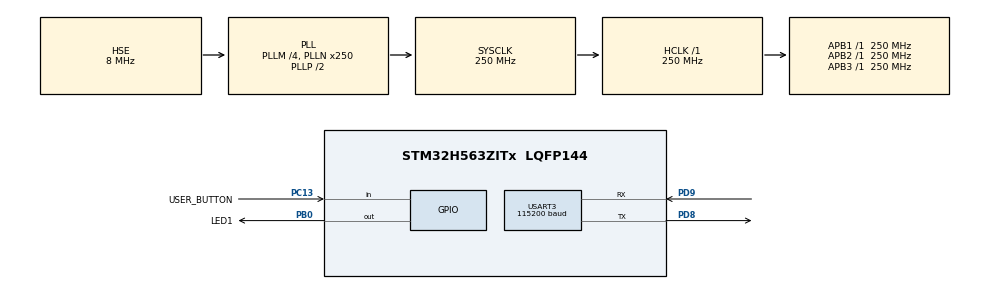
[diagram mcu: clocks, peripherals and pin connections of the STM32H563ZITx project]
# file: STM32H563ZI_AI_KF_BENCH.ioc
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CORTEX_M33_NS.userName=CORTEX_M33
Mcu.Family=STM32H5
Mcu.Name=STM32H563ZITx
Mcu.Package=LQFP144
NVIC.PriorityGroup=NVIC_PRIORITYGROUP_4
NVIC.USART3_IRQn=true\:0\:0\:false\:false\:true\:true\:true\:true
PB0.GPIO_Label=LED1
PB0.GPIO_PuPd=GPIO_NOPULL
PB0.Signal=GPIO_Output
PC13.GPIO_Label=USER_BUTTON
PC13.GPIO_PuPd=GPIO_NOPULL
PC13.Signal=GPIO_Input
PD8.GPIO_PuPd=GPIO_PULLUP
PD8.Mode=Asynchronous
PD8.Signal=USART3_TX
PD9.GPIO_PuPd=GPIO_PULLUP
PD9.Mode=Asynchronous
PD9.Signal=USART3_RX
PH0-OSC_IN(PH0).Mode=HSE-DIG-External-Clock-Source
PH0-OSC_IN(PH0).Signal=RCC_OSC_IN
ProjectManager.HeapSize=0x1000
ProjectManager.StackSize=0x2000
ProjectManager.TargetToolchain=STM32CubeIDE
RCC.ADCFreq_Value=250000000
RCC.AHBFreq_Value=250000000
RCC.APB1Freq_Value=250000000
RCC.APB1TimFreq_Value=250000000
RCC.APB2Freq_Value=250000000
RCC.APB2TimFreq_Value=250000000
RCC.APB3Freq_Value=250000000
RCC.CSI_VALUE=4000000
RCC.CortexFreq_Value=250000000
RCC.EPOD_VALUE=8000000
RCC.HCLKFreq_Value=250000000
RCC.HSE_VALUE=8000000
RCC.HSI48_VALUE=48000000
RCC.HSIDiv=RCC_HSI_DIV1
RCC.HSI_VALUE=64000000
RCC.LSE_VALUE=32768
RCC.LSIRC_VALUE=32000
RCC.PLLM=4
RCC.PLLN=250
RCC.PLLSourceVirtual=RCC_PLL1_SOURCE_HSE
RCC.SYSCLKFreq_VALUE=250000000
RCC.SYSCLKSource=RCC_SYSCLKSOURCE_PLLCLK
RCC.USBFreq_Value=48000000
RCC.VCOOutputFreq_Value=500000000
USART3.AutoBaudRateEnableParam=UART_ADVFEATURE_AUTOBAUDRATE_DISABLE
USART3.BaudRate=115200
USART3.ClockPrescaler=PRESCALER_DIV1
USART3.DMADisableonRxErrorParam=ADVFEATURE_DMA_ENABLEONRXERROR
USART3.DataInvertParam=ADVFEATURE_DATAINV_DISABLE
USART3.FIFOMode=FIFOMODE_DISABLE
USART3.MSBFirstParam=ADVFEATURE_MSBFIRST_DISABLE
USART3.Mode=MODE_TX_RX
USART3.OneBitSampling=UART_ONE_BIT_SAMPLE_DISABLE
USART3.OverSampling=UART_OVERSAMPLING_16
USART3.OverrunDisableParam=ADVFEATURE_OVERRUN_ENABLE
USART3.Parity=PARITY_NONE
USART3.RXFIFOThreshold=RXFIFO_THRESHOLD_1EIGHTHFULL
USART3.RxPinLevelInvertParam=ADVFEATURE_RXINV_DISABLE
USART3.StopBits=STOPBITS_1
USART3.SwapParam=ADVFEATURE_SWAP_DISABLE
USART3.TXFIFOThreshold=TXFIFO_THRESHOLD_1EIGHTHFULL
USART3.TxPinLevelInvertParam=ADVFEATURE_TXINV_DISABLE
USART3.VirtualMode=VM_ASYNC
USART3.VirtualMode-Asynchronous=VM_ASYNC
USART3.WordLength=WORDLENGTH_8B
VP_ICACHE_VS_ICACHE.Mode=DirectMappedCache
VP_PWR_VS_SECSignals.Mode=Security/Privilege
board=NUCLEO-H563ZI

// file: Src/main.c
/* USER CODE BEGIN Header */
/**
  ******************************************************************************
  * @file           : main.c
  * @brief          : Main program body
  ******************************************************************************
  * @attention
  *
  * Copyright (c) 2026 STMicroelectronics.
  * All rights reserved.
  *
  * This software is licensed under terms that can be found in the LICENSE file
  * in the root directory of this software component.
  * If no LICENSE file comes with this software, it is provided AS-IS.
  *
  ******************************************************************************
  */
/* USER CODE END Header */
#include "main.h"

/* USER CODE BEGIN Includes */
#include <string.h>
#include "kf_core.h"
/* USER CODE END Includes */

/* USER CODE BEGIN PD */
#define CEMA_PROTOCOL_MAGIC 0x43454D41UL
#define CEMA_PROTOCOL_VERSION 5UL
#define CEMA_CMD_QUERY 0x51U
#define CEMA_CMD_RESET 0x52U
#define CEMA_CMD_SAMPLE 0x53U
#define CEMA_CMD_SAMPLE_DT 0x44U
#define STACK_PATTERN 0xA5A5A5A5UL
/* USER CODE END PD */

UART_HandleTypeDef huart3;

/* USER CODE BEGIN PV */
static uint32_t g_model_status;
static uint32_t *g_stack_paint_end;
/* USER CODE END PV */

void SystemClock_Config(void);
static void MX_GPIO_Init(void);
static void MX_USART3_UART_Init(void);
static void MX_ICACHE_Init(void);
/* USER CODE BEGIN PFP */
static void CEMA_DWT_Init(void);
static void CEMA_Protocol_Loop(void);
static void Stack_Watermark_Init(void);
static uint32_t Stack_Highwater_Bytes(void);
/* USER CODE END PFP */

/* USER CODE BEGIN 0 */
extern uint32_t _sstack;
extern uint32_t _estack;

typedef struct __attribute__((packed))
{
  double voltage_v;
  double current_a;
  double temperature_c;
} CEMA_Raw_Sample;

typedef struct __attribute__((packed))
{
  uint32_t magic;
  uint32_t status;
  uint32_t total_cycles;
  uint32_t stack_highwater_bytes;
  uint32_t sample_count;
  uint32_t state_dim;
  uint32_t asset_bytes;
  uint32_t runtime_state_bytes;
  double output;
} CEMA_KF_Response;

static void UART_Send(const void *data, uint16_t size)
{
  (void)HAL_UART_Transmit(&huart3, (const uint8_t *)data, size, HAL_MAX_DELAY);
}

static void CEMA_DWT_Init(void)
{
  CoreDebug->DEMCR |= CoreDebug_DEMCR_TRCENA_Msk;
#if defined(DWT_LAR)
  DWT->LAR = 0xC5ACCE55UL;
#endif
  DWT->CYCCNT = 0UL;
  DWT->CTRL |= DWT_CTRL_CYCCNTENA_Msk;
  __DSB();
  __ISB();
}

static void Stack_Watermark_Init(void)
{
  uintptr_t stack_pointer;
  uint32_t *cursor;

  __asm volatile ("mrs %0, msp" : "=r" (stack_pointer));
  if (stack_pointer > ((uintptr_t)&_sstack + 512U))
  {
    g_stack_paint_end = (uint32_t *)(stack_pointer - 256U);
    for (cursor = &_sstack; cursor < g_stack_paint_end; ++cursor)
    {
      *cursor = STACK_PATTERN;
    }
  }
  else
  {
    g_stack_paint_end = &_sstack;
  }
}

static uint32_t Stack_Highwater_Bytes(void)
{
  uint32_t *cursor;
  uint32_t *lowest_used = g_stack_paint_end;

  for (cursor = &_sstack; cursor < g_stack_paint_end; ++cursor)
  {
    if (*cursor != STACK_PATTERN)
    {
      lowest_used = cursor;
      break;
    }
  }
  return (uint32_t)((uintptr_t)&_estack - (uintptr_t)lowest_used);
}

static void CEMA_Send_Query(void)
{
  const uint32_t response[10] = {
      CEMA_PROTOCOL_MAGIC,
      CEMA_PROTOCOL_VERSION,
      SystemCoreClock,
      3U,
      sizeof(CEMA_Raw_Sample),
      CEMA_KF_Chemistry(),
      CEMA_KF_Method(),
      CEMA_KF_State_Dim(),
      CEMA_KF_Asset_Bytes(),
      CEMA_KF_Runtime_State_Bytes()};
  UART_Send(response, (uint16_t)sizeof(response));
}

static void CEMA_Send_Reset(const CEMA_KF_Reset *reset)
{
  uint32_t response[2];
  CEMA_KF_Reset_State(reset);
  g_model_status = CEMA_KF_Status();
  response[0] = CEMA_PROTOCOL_MAGIC;
  response[1] = g_model_status;
  UART_Send(response, (uint16_t)sizeof(response));
}

static void CEMA_Send_Sample(
    double voltage_v,
    double current_a,
    double temperature_c,
    double dt_s)
{
  CEMA_KF_Response response = {0};
  uint32_t primask;

  response.magic = CEMA_PROTOCOL_MAGIC;
  response.status = g_model_status;
  if (g_model_status != 0U)
  {
    UART_Send(&response, (uint16_t)sizeof(response));
    return;
  }

  primask = __get_PRIMASK();
  __disable_irq();
  __DSB();
  __ISB();
  DWT->CYCCNT = 0UL;
  response.output =
      CEMA_KF_Step(voltage_v, current_a, temperature_c, dt_s);
  response.total_cycles = DWT->CYCCNT;
  if (primask == 0U)
  {
    __enable_irq();
  }
  g_model_status = CEMA_KF_Status();
  response.status = g_model_status;
  response.stack_highwater_bytes = Stack_Highwater_Bytes();
  response.sample_count = CEMA_KF_Sample_Count();
  response.state_dim = CEMA_KF_State_Dim();
  response.asset_bytes = CEMA_KF_Asset_Bytes();
  response.runtime_state_bytes = CEMA_KF_Runtime_State_Bytes();
  UART_Send(&response, (uint16_t)sizeof(response));
}

static void CEMA_Protocol_Loop(void)
{
  uint8_t command;
  CEMA_Raw_Sample sample;
  CEMA_KF_Sample_Dt sample_dt;
  CEMA_KF_Reset reset;

  for (;;)
  {
    if (HAL_UART_Receive(&huart3, &command, 1U, HAL_MAX_DELAY) != HAL_OK)
    {
      continue;
    }
    if (command == CEMA_CMD_QUERY)
    {
      CEMA_Send_Query();
    }
    else if (command == CEMA_CMD_RESET)
    {
      if (HAL_UART_Receive(
              &huart3,
              (uint8_t *)&reset,
              sizeof(reset),
              HAL_MAX_DELAY) == HAL_OK)
      {
        CEMA_Send_Reset(&reset);
      }
    }
    else if (command == CEMA_CMD_SAMPLE)
    {
      if (HAL_UART_Receive(
              &huart3,
              (uint8_t *)&sample,
              sizeof(sample),
              HAL_MAX_DELAY) == HAL_OK)
      {
        CEMA_Send_Sample(
            sample.voltage_v,
            sample.current_a,
            sample.temperature_c,
            1.0F);
      }
    }
    else if (command == CEMA_CMD_SAMPLE_DT)
    {
      if (HAL_UART_Receive(
              &huart3,
              (uint8_t *)&sample_dt,
              sizeof(sample_dt),
              HAL_MAX_DELAY) == HAL_OK)
      {
        CEMA_Send_Sample(
            sample_dt.voltage_v,
            sample_dt.current_a,
            sample_dt.temperature_c,
            sample_dt.dt_s);
      }
    }
  }
}

/* USER CODE END 0 */

int main(void)
{

  /* MCU Configuration--------------------------------------------------------*/

  /* Reset of all peripherals, Initializes the Flash interface and the Systick. */
  HAL_Init();

  /* Configure the system clock */
  SystemClock_Config();

  /* Initialize all configured peripherals */
  MX_GPIO_Init();
  MX_USART3_UART_Init();
  MX_ICACHE_Init();
  /* USER CODE BEGIN 2 */
  CEMA_DWT_Init();
  g_model_status = 0U;
  Stack_Watermark_Init();
  HAL_GPIO_WritePin(LED1_GPIO_Port, LED1_Pin, GPIO_PIN_SET);
  CEMA_Protocol_Loop();
  /* USER CODE END 2 */

  /* Infinite loop */
  while (1)
  {

  }
}

void SystemClock_Config(void)
{
  RCC_OscInitTypeDef RCC_OscInitStruct = {0};
  RCC_ClkInitTypeDef RCC_ClkInitStruct = {0};

  /** Configure the main internal regulator output voltage
  */
  __HAL_PWR_VOLTAGESCALING_CONFIG(PWR_REGULATOR_VOLTAGE_SCALE0);

  while(!__HAL_PWR_GET_FLAG(PWR_FLAG_VOSRDY)) {}

  /** Initializes the RCC Oscillators according to the specified parameters
  * in the RCC_OscInitTypeDef structure.
  */
  RCC_OscInitStruct.OscillatorType = RCC_OSCILLATORTYPE_HSE;
  RCC_OscInitStruct.HSEState = RCC_HSE_BYPASS_DIGITAL;
  RCC_OscInitStruct.PLL.PLLState = RCC_PLL_ON;
  RCC_OscInitStruct.PLL.PLLSource = RCC_PLL1_SOURCE_HSE;
  RCC_OscInitStruct.PLL.PLLM = 4;
  RCC_OscInitStruct.PLL.PLLN = 250;
  RCC_OscInitStruct.PLL.PLLP = 2;
  RCC_OscInitStruct.PLL.PLLQ = 2;
  RCC_OscInitStruct.PLL.PLLR = 2;
  RCC_OscInitStruct.PLL.PLLRGE = RCC_PLL1_VCIRANGE_1;
  RCC_OscInitStruct.PLL.PLLVCOSEL = RCC_PLL1_VCORANGE_WIDE;
  RCC_OscInitStruct.PLL.PLLFRACN = 0;
  if (HAL_RCC_OscConfig(&RCC_OscInitStruct) != HAL_OK)
  {
    Error_Handler();
  }

  /** Initializes the CPU, AHB and APB buses clocks
  */
  RCC_ClkInitStruct.ClockType = RCC_CLOCKTYPE_HCLK|RCC_CLOCKTYPE_SYSCLK
                              |RCC_CLOCKTYPE_PCLK1|RCC_CLOCKTYPE_PCLK2
                              |RCC_CLOCKTYPE_PCLK3;
  RCC_ClkInitStruct.SYSCLKSource = RCC_SYSCLKSOURCE_PLLCLK;
  RCC_ClkInitStruct.AHBCLKDivider = RCC_SYSCLK_DIV1;
  RCC_ClkInitStruct.APB1CLKDivider = RCC_HCLK_DIV1;
  RCC_ClkInitStruct.APB2CLKDivider = RCC_HCLK_DIV1;
  RCC_ClkInitStruct.APB3CLKDivider = RCC_HCLK_DIV1;

  if (HAL_RCC_ClockConfig(&RCC_ClkInitStruct, FLASH_LATENCY_5) != HAL_OK)
  {
    Error_Handler();
  }

  /** Configure the programming delay
  */
  __HAL_FLASH_SET_PROGRAM_DELAY(FLASH_PROGRAMMING_DELAY_2);
}

static void MX_ICACHE_Init(void)
{

  /** Enable instruction cache in 1-way (direct mapped cache)
  */
  if (HAL_ICACHE_ConfigAssociativityMode(ICACHE_1WAY) != HAL_OK)
  {
    Error_Handler();
  }
  if (HAL_ICACHE_Enable() != HAL_OK)
  {
    Error_Handler();
  }

}

static void MX_USART3_UART_Init(void)
{

  huart3.Instance = USART3;
  huart3.Init.BaudRate = 921600;
  huart3.Init.WordLength = UART_WORDLENGTH_8B;
  huart3.Init.StopBits = UART_STOPBITS_1;
  huart3.Init.Parity = UART_PARITY_NONE;
  huart3.Init.Mode = UART_MODE_TX_RX;
  huart3.Init.HwFlowCtl = UART_HWCONTROL_NONE;
  huart3.Init.OverSampling = UART_OVERSAMPLING_16;
  huart3.Init.OneBitSampling = UART_ONE_BIT_SAMPLE_DISABLE;
  huart3.Init.ClockPrescaler = UART_PRESCALER_DIV1;
  huart3.AdvancedInit.AdvFeatureInit = UART_ADVFEATURE_NO_INIT;
  if (HAL_UART_Init(&huart3) != HAL_OK)
  {
    Error_Handler();
  }
  if (HAL_UARTEx_SetTxFifoThreshold(&huart3, UART_TXFIFO_THRESHOLD_1_8) != HAL_OK)
  {
    Error_Handler();
  }
  if (HAL_UARTEx_SetRxFifoThreshold(&huart3, UART_RXFIFO_THRESHOLD_1_8) != HAL_OK)
  {
    Error_Handler();
  }
  if (HAL_UARTEx_DisableFifoMode(&huart3) != HAL_OK)
  {
    Error_Handler();
  }

}

static void MX_GPIO_Init(void)
{
  GPIO_InitTypeDef GPIO_InitStruct = {0};

  /* GPIO Ports Clock Enable */
  __HAL_RCC_GPIOC_CLK_ENABLE();
  __HAL_RCC_GPIOH_CLK_ENABLE();
  __HAL_RCC_GPIOB_CLK_ENABLE();
  __HAL_RCC_GPIOD_CLK_ENABLE();

  /*Configure GPIO pin Output Level */
  HAL_GPIO_WritePin(LED1_GPIO_Port, LED1_Pin, GPIO_PIN_RESET);

  /*Configure GPIO pin : USER_BUTTON_Pin */
  GPIO_InitStruct.Pin = USER_BUTTON_Pin;
  GPIO_InitStruct.Mode = GPIO_MODE_INPUT;
  GPIO_InitStruct.Pull = GPIO_NOPULL;
  HAL_GPIO_Init(USER_BUTTON_GPIO_Port, &GPIO_InitStruct);

  /*Configure GPIO pin : LED1_Pin */
  GPIO_InitStruct.Pin = LED1_Pin;
  GPIO_InitStruct.Mode = GPIO_MODE_OUTPUT_PP;
  GPIO_InitStruct.Pull = GPIO_NOPULL;
  GPIO_InitStruct.Speed = GPIO_SPEED_FREQ_LOW;
  HAL_GPIO_Init(LED1_GPIO_Port, &GPIO_InitStruct);

}

void Error_Handler(void)
{
  __disable_irq();
  while (1)
  {
  }
}
